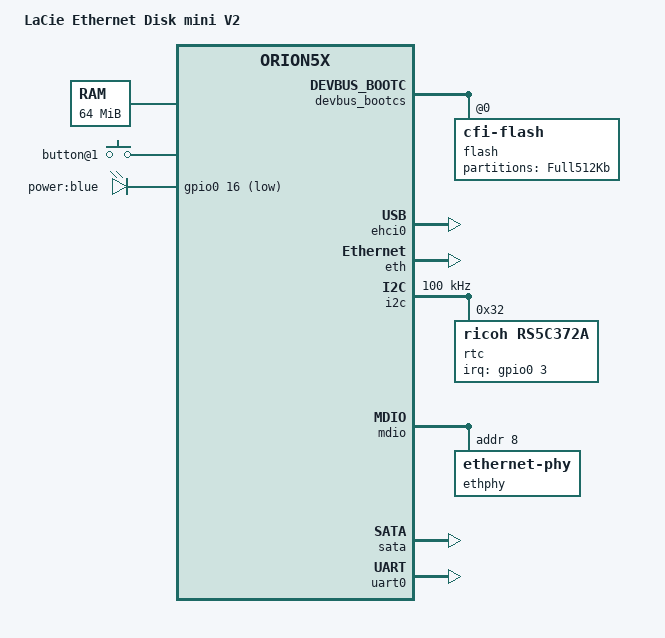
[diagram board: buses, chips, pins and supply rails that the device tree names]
FASTVC-BENCH-CORPUS:linux-main-100k-v1-e0bd41dc-8e12-4f1b-978d-a3645ae59da0
/*
 * Copyright (C) 2012 Thomas Petazzoni <thomas.petazzoni@free-electrons.com>
 *
 * This file is licensed under the terms of the GNU General Public
 * License version 2. This program is licensed "as is" without any
 * warranty of any kind, whether express or implied.
 */

/*
 * TODO: add Orion USB device port init when kernel.org support is added.
 * TODO: add flash write support: see below.
/* bench 2032.0.0 8d387665f4bb */
/* bench 2032.0.1 a5909eca37b2 */
/* bench 2032.0.2 3975c06aa97b */
/* bench 2032.0.3 cfef117a96c1 */
/* bench 2032.0.4 eedb11f37aa3 */
/* bench 2032.0.5 84fce8cfc228 */
/* bench 2032.0.6 8482c5aa9f2b */
/* bench 2032.0.7 05dcbc2b93e5 */
/* bench 2032.0.8 ebd0ee44bed3 */
/* bench 2032.0.9 4f6b8d27cb4c */
/* bench 2032.0.10 8d5fefb630a7 */

/dts-v1/;

#include <dt-bindings/gpio/gpio.h>
#include <dt-bindings/input/input.h>
#include <dt-bindings/interrupt-controller/irq.h>
#include "orion5x-mv88f5182.dtsi"

/ {
	model = "LaCie Ethernet Disk mini V2";
	compatible = "lacie,ethernet-disk-mini-v2", "marvell,orion5x-88f5182", "marvell,orion5x";

	memory {
		device_type = "memory";
		reg = <0x00000000 0x4000000>; /* 64 MB */
	};

	chosen {
		bootargs = "console=ttyS0,115200n8 earlyprintk";
		stdout-path = &uart0;
	};

	soc {
		ranges = <MBUS_ID(0xf0, 0x01) 0 0xf1000000 0x100000>,
			 <MBUS_ID(0x09, 0x00) 0 0xf2200000 0x800>,
			 <MBUS_ID(0x01, 0x0f) 0 0xfff80000 0x80000>;
	};

	gpio-keys {
		compatible = "gpio-keys";
		pinctrl-0 = <&pmx_power_button>;
		pinctrl-names = "default";
		#address-cells = <1>;
		#size-cells = <0>;
		button@1 {
/* bench 11686.1.0 027ffbb437d5 */
/* bench 11686.1.1 3176d10ca877 */
/* bench 11686.1.2 0891785bfb72 */
/* bench 11686.1.3 97b4d18b2320 */
/* bench 11686.1.4 e1057dcb8d6f */
/* bench 11686.1.5 3b3f554ff893 */
/* bench 11686.1.6 97199e725009 */
/* bench 11686.1.7 cea5f878f60d */
/* bench 11686.1.8 788750052332 */
		};
	};

	gpio-leds {
		compatible = "gpio-leds";
		pinctrl-0 = <&pmx_power_led>;
		pinctrl-names = "default";

		led@1 {
			label = "power:blue";
			gpios = <&gpio0 16 GPIO_ACTIVE_LOW>;
		};
	};
};

&devbus_bootcs {
	status = "okay";

	/* Read parameters */
	devbus,bus-width    = <8>;
	devbus,turn-off-ps  = <90000>;
	devbus,badr-skew-ps = <0>;
	devbus,acc-first-ps = <186000>;
	devbus,acc-next-ps  = <186000>;

	/* Write parameters */
	devbus,wr-high-ps  = <90000>;
	devbus,wr-low-ps   = <90000>;
	devbus,ale-wr-ps   = <90000>;

	/*
	 * Currently the MTD code does not recognize the MX29LV400CBCT
	 * as a bottom-type device. This could cause risks of
	 * accidentally erasing critical flash sectors. We thus define
	 * a single, write-protected partition covering the whole
	 * flash.  TODO: once the flash part TOP/BOTTOM detection
	 * issue is sorted out in the MTD code, break this into at
	 * least three partitions: 'u-boot code', 'u-boot environment'
	 * and 'whatever is left'.
	 */
	flash@0 {
		compatible = "cfi-flash";
		reg = <0 0x80000>;
		bank-width = <1>;
		#address-cells = <1>;
		#size-cells = <1>;

		partition@0 {
			label = "Full512Kb";
			reg = <0 0x80000>;
			read-only;
		};
	};
};

&ehci0 {
	status = "okay";
};

&eth {
	status = "okay";

	ethernet-port@0 {
		phy-handle = <&ethphy>;
	};
};

&i2c {
	status = "okay";
	clock-frequency = <100000>;
	#address-cells = <1>;

	rtc@32 {
		compatible = "ricoh,rs5c372a";
		reg = <0x32>;
		interrupt-parent = <&gpio0>;
		interrupts = <3 IRQ_TYPE_LEVEL_LOW>;
	};
};

&mdio {
	status = "okay";

	ethphy: ethernet-phy {
		reg = <8>;
	};
};

&pinctrl {
	pinctrl-0 = <&pmx_rtc &pmx_power_led_ctrl>;
	pinctrl-names = "default";

	pmx_power_button: pmx-power-button {
		marvell,pins = "mpp18";
		marvell,function = "gpio";
	};

	pmx_power_led: pmx-power-led {
		marvell,pins = "mpp16";
		marvell,function = "gpio";
	};

	pmx_power_led_ctrl: pmx-power-led-ctrl {
		marvell,pins = "mpp17";
		marvell,function = "gpio";
	};

	pmx_rtc: pmx-rtc {
		marvell,pins = "mpp3";
		marvell,function = "gpio";
	};
};

&sata {
	pinctrl-0 = <&pmx_sata0 &pmx_sata1>;
	pinctrl-names = "default";
	status = "okay";
	nr-ports = <2>;
};

&uart0 {
	status = "okay";
};
